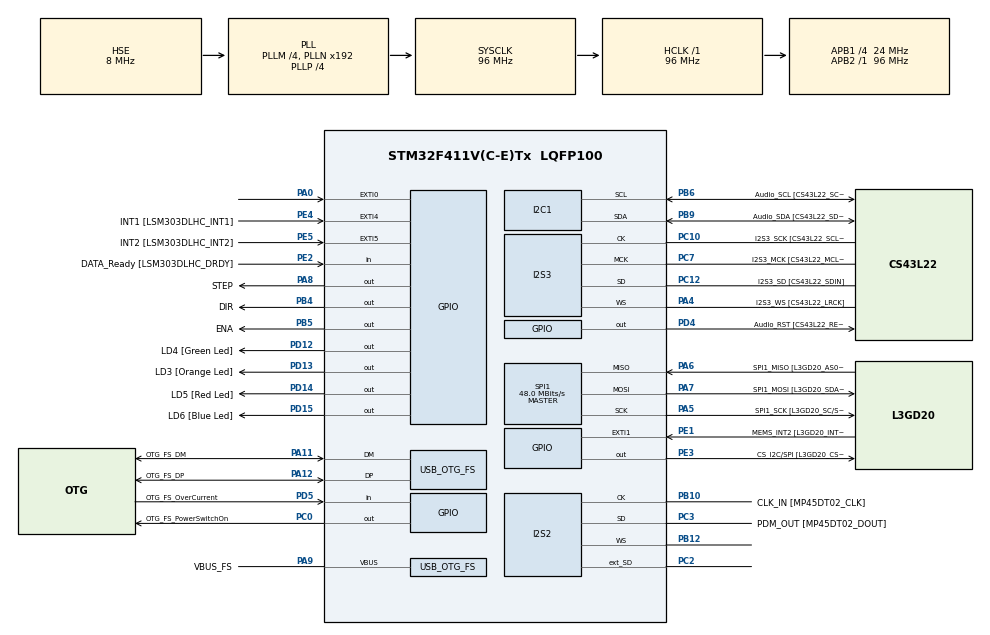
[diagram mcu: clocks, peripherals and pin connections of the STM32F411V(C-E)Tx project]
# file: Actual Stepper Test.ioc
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I2S2.AudioFreq=I2S_AUDIOFREQ_96K
I2S2.ErrorAudioFreq=0.15 %
I2S2.FullDuplexMode=I2S_FULLDUPLEXMODE_ENABLE
I2S2.Instance=SPI$Index
I2S2.RealAudioFreq=96.153 KHz
I2S2.VirtualMode=I2S_MODE_MASTER
I2S3.AudioFreq=I2S_AUDIOFREQ_96K
I2S3.ErrorAudioFreq=-6.99 %
I2S3.FullDuplexMode=I2S_FULLDUPLEXMODE_DISABLE
I2S3.Instance=SPI$Index
I2S3.RealAudioFreq=89.285 KHz
I2S3.VirtualMode=I2S_MODE_MASTER
Mcu.Family=STM32F4
Mcu.Name=STM32F411V(C-E)Tx
Mcu.Package=LQFP100
NVIC.OTG_FS_IRQn=true\:0\:0\:false\:false\:true\:true\:true\:true
NVIC.PriorityGroup=NVIC_PRIORITYGROUP_0
PA0-WKUP.GPIO_ModeDefaultEXTI=GPIO_MODE_EVT_RISING
PA0-WKUP.Signal=GPXTI0
PA10.GPIO_Label=OTG_FS_ID
PA10.Signal=USB_OTG_FS_ID
PA11.GPIO_Label=OTG_FS_DM
PA11.Mode=Host_Only
PA11.Signal=USB_OTG_FS_DM
PA12.GPIO_Label=OTG_FS_DP
PA12.Mode=Host_Only
PA12.Signal=USB_OTG_FS_DP
PA13.GPIO_Label=SWDIO
PA13.Mode=Serial_Wire
PA13.Signal=SYS_JTMS-SWDIO
PA14.GPIO_Label=SWCLK
PA14.Mode=Serial_Wire
PA14.Signal=SYS_JTCK-SWCLK
PA4.GPIO_Label=I2S3_WS [CS43L22_LRCK]
PA4.GPIO_Mode=GPIO_MODE_AF_PP
PA4.GPIO_PuPd=GPIO_NOPULL
PA4.GPIO_Speed=GPIO_SPEED_FREQ_LOW
PA4.Mode=Half_Duplex_Master
PA4.Signal=I2S3_WS
PA5.GPIO_Label=SPI1_SCK [L3GD20_SC/SPC]
PA5.Mode=Full_Duplex_Master
PA5.Signal=SPI1_SCK
PA6.GPIO_Label=SPI1_MISO [L3GD20_AS0/SDO]
PA6.Mode=Full_Duplex_Master
PA6.Signal=SPI1_MISO
PA7.GPIO_Label=SPI1_MOSI [L3GD20_SDA/SDI/SDO]
PA7.Mode=Full_Duplex_Master
PA7.Signal=SPI1_MOSI
PA8.GPIO_Label=STEP
PA8.GPIO_Speed=GPIO_SPEED_FREQ_HIGH
PA8.Signal=GPIO_Output
PA9.GPIO_Label=VBUS_FS
PA9.Mode=Activate_VBUS
PA9.Signal=USB_OTG_FS_VBUS
PB10.GPIO_Label=CLK_IN [MP45DT02_CLK]
PB10.Mode=Full_Duplex_Master
PB10.Signal=I2S2_CK
PB12.Mode=Full_Duplex_Master
PB12.Signal=I2S2_WS
PB3.GPIO_Label=SWO
PB3.Signal=SYS_JTDO-SWO
PB4.GPIO_Label=DIR
PB4.GPIO_Speed=GPIO_SPEED_FREQ_HIGH
PB4.Signal=GPIO_Output
PB5.GPIO_Label=ENA
PB5.GPIO_Speed=GPIO_SPEED_FREQ_HIGH
PB5.Signal=GPIO_Output
PB6.GPIO_Label=Audio_SCL [CS43L22_SCL]
PB6.GPIO_Mode=GPIO_MODE_AF_OD
PB6.GPIO_Pu=GPIO_PULLUP
PB6.GPIO_PuPd=GPIO_NOPULL
PB6.GPIO_Speed=GPIO_SPEED_FREQ_LOW
PB6.Mode=I2C
PB6.Signal=I2C1_SCL
PB9.GPIO_Label=Audio_SDA [CS43L22_SDA]
PB9.GPIO_Mode=GPIO_MODE_AF_OD
PB9.GPIO_Pu=GPIO_PULLUP
PB9.GPIO_PuPd=GPIO_NOPULL
PB9.GPIO_Speed=GPIO_SPEED_FREQ_LOW
PB9.Mode=I2C
PB9.Signal=I2C1_SDA
PC0.GPIO_Label=OTG_FS_PowerSwitchOn
PC0.PinState=GPIO_PIN_SET
PC0.Signal=GPIO_Output
PC10.GPIO_Label=I2S3_SCK [CS43L22_SCLK]
PC10.GPIO_Mode=GPIO_MODE_AF_PP
PC10.GPIO_PuPd=GPIO_NOPULL
PC10.GPIO_Speed=GPIO_SPEED_FREQ_LOW
PC10.Mode=Half_Duplex_Master
PC10.Signal=I2S3_CK
PC12.GPIO_Label=I2S3_SD [CS43L22_SDIN]
PC12.GPIO_Mode=GPIO_MODE_AF_PP
PC12.GPIO_PuPd=GPIO_NOPULL
PC12.GPIO_Speed=GPIO_SPEED_FREQ_LOW
PC12.Mode=Half_Duplex_Master
PC12.Signal=I2S3_SD
PC14-OSC32_IN.GPIO_Label=PC14-OSC32_IN
PC14-OSC32_IN.Mode=LSE-External-Oscillator
PC14-OSC32_IN.Signal=RCC_OSC32_IN
PC15-OSC32_OUT.GPIO_Label=PC15-OSC32_OUT
PC15-OSC32_OUT.Mode=LSE-External-Oscillator
PC15-OSC32_OUT.Signal=RCC_OSC32_OUT
PC2.Mode=Full_Duplex_Master
PC2.Signal=I2S2_ext_SD
PC3.GPIO_Label=PDM_OUT [MP45DT02_DOUT]
PC3.Mode=Full_Duplex_Master
PC3.Signal=I2S2_SD
PC7.GPIO_Label=I2S3_MCK [CS43L22_MCLK]
PC7.GPIO_Mode=GPIO_MODE_AF_PP
PC7.GPIO_PuPd=GPIO_NOPULL
PC7.GPIO_Speed=GPIO_SPEED_FREQ_LOW
PC7.Mode=Master_Clock_Activated
PC7.Signal=I2S3_MCK
PD12.GPIO_Label=LD4 [Green Led]
PD12.GPIO_PuPd=GPIO_NOPULL
PD12.GPIO_Speed=GPIO_SPEED_FREQ_LOW
PD12.Signal=GPIO_Output
PD13.GPIO_Label=LD3 [Orange Led]
PD13.GPIO_PuPd=GPIO_NOPULL
PD13.GPIO_Speed=GPIO_SPEED_FREQ_LOW
PD13.Signal=GPIO_Output
PD14.GPIO_Label=LD5 [Red Led]
PD14.GPIO_PuPd=GPIO_NOPULL
PD14.GPIO_Speed=GPIO_SPEED_FREQ_LOW
PD14.Signal=GPIO_Output
PD15.GPIO_Label=LD6 [Blue Led]
PD15.GPIO_PuPd=GPIO_NOPULL
PD15.GPIO_Speed=GPIO_SPEED_FREQ_LOW
PD15.Signal=GPIO_Output
PD4.GPIO_Label=Audio_RST [CS43L22_RESET]
PD4.Signal=GPIO_Output
PD5.GPIO_Label=OTG_FS_OverCurrent
PD5.Signal=GPIO_Input
PE1.GPIO_Label=MEMS_INT2 [L3GD20_INT2]
PE1.GPIO_ModeDefaultEXTI=GPIO_MODE_EVT_RISING
PE1.Signal=GPXTI1
PE2.GPIO_Label=DATA_Ready [LSM303DLHC_DRDY]
PE2.Signal=GPIO_Input
PE3.GPIO_Label=CS_I2C/SPI [L3GD20_CS_I2C/SPI]
PE3.Signal=GPIO_Output
PE4.GPIO_Label=INT1 [LSM303DLHC_INT1]
PE4.GPIO_ModeDefaultEXTI=GPIO_MODE_EVT_RISING
PE4.Signal=GPXTI4
PE5.GPIO_Label=INT2 [LSM303DLHC_INT2]
PE5.GPIO_ModeDefaultEXTI=GPIO_MODE_EVT_RISING
PE5.Signal=GPXTI5
PH0\ -\ OSC_IN.GPIO_Label=PH0-OSC_IN
PH0\ -\ OSC_IN.Mode=HSE-External-Clock-Source
PH0\ -\ OSC_IN.Signal=RCC_OSC_IN
PH1\ -\ OSC_OUT.GPIO_Label=PH1-OSC_OUT
PH1\ -\ OSC_OUT.Mode=HSE-External-Clock-Source
PH1\ -\ OSC_OUT.Signal=RCC_OSC_OUT
ProjectManager.HeapSize=0x200
ProjectManager.StackSize=0x400
ProjectManager.TargetToolchain=STM32CubeIDE
RCC.48MHZClocksFreq_Value=48000000
RCC.AHBFreq_Value=96000000
RCC.APB1CLKDivider=RCC_HCLK_DIV4
RCC.APB1Freq_Value=24000000
RCC.APB1TimFreq_Value=48000000
RCC.APB2Freq_Value=96000000
RCC.APB2TimFreq_Value=96000000
RCC.CortexFreq_Value=96000000
RCC.HCLKFreq_Value=96000000
RCC.HSE_VALUE=8000000
RCC.HSI_VALUE=16000000
RCC.PLLI2SM=5
RCC.PLLI2SN=200
RCC.PLLM=4
RCC.PLLP=RCC_PLLP_DIV4
RCC.PLLQ=8
RCC.SYSCLKFreq_VALUE=96000000
RCC.SYSCLKSource=RCC_SYSCLKSOURCE_PLLCLK
RCC.VCOOutputFreq_Value=384000000
SPI1.BaudRatePrescaler=SPI_BAUDRATEPRESCALER_2
SPI1.CalculateBaudRate=48.0 MBits/s
SPI1.Direction=SPI_DIRECTION_2LINES
SPI1.Mode=SPI_MODE_MASTER
SPI1.VirtualType=VM_MASTER
USB_HOST.BSP.number=1
USB_HOST.USBH_HandleTypeDef=hUsbHostFS
USB_HOST.VirtualModeFS=Cdc
USB_HOST0.BSP.STBoard=false
USB_HOST0.BSP.api=Unknown
USB_HOST0.BSP.instance=PC0
USB_HOST0.BSP.ip=GPIO
USB_HOST0.BSP.mode=Output
USB_HOST0.BSP.name=Drive_VBUS_FS
USB_HOST0.BSP.solution=PC0
USB_OTG_FS.VirtualMode=Host_Only
USB_OTG_FS.phy_itface=HCD_PHY_EMBEDDED
VP_USB_HOST_VS_USB_HOST_CDC_FS.Mode=CDC_FS
board=STM32F411E-DISCO

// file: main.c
/* USER CODE BEGIN Header */
/**
  ******************************************************************************
  * @file           : main.c
  * @brief          : Main program body
  ******************************************************************************
  * @attention
  *
  * Copyright (c) 2026 STMicroelectronics.
  * All rights reserved.
  *
  * This software is licensed under terms that can be found in the LICENSE file
  * in the root directory of this software component.
  * If no LICENSE file comes with this software, it is provided AS-IS.
  *
  ******************************************************************************
  */
/* USER CODE END Header */
#include "main.h"
#include "i2c.h"
#include "i2s.h"
#include "spi.h"
#include "usb_host.h"
#include "gpio.h"
#include "signal_sequence.h"

void SystemClock_Config(void);
void PeriphCommonClock_Config(void);
void MX_USB_HOST_Process(void);

/* USER CODE BEGIN 0 */
#define STEP_PORT GPIOA
#define STEP_PIN  GPIO_PIN_8

#define DIR_PORT  GPIOB
#define DIR_PIN   GPIO_PIN_4

#define ENA_PORT  GPIOB
#define ENA_PIN   GPIO_PIN_5

// NOTE: Some drivers treat ENA as active-low (enabled when LOW).
// We'll make it configurable:
#define ENA_ACTIVE_LOW  1   // set to 1 if your DM320T enables when ENA is LOW

static void delay_us(uint32_t us)
{
  // crude delay for bring-up testing; good enough to prove wiring
  uint32_t count = us * 8;
  while (count--) { __asm volatile ("nop"); }
}

static void driver_enable(uint8_t enable)
{
  GPIO_PinState level;

  if (ENA_ACTIVE_LOW)
    level = enable ? GPIO_PIN_RESET : GPIO_PIN_SET;
  else
    level = enable ? GPIO_PIN_SET : GPIO_PIN_RESET;

  HAL_GPIO_WritePin(ENA_PORT, ENA_PIN, level);
}

static void stepper_set_dir(uint8_t forward)
{
  HAL_GPIO_WritePin(DIR_PORT, DIR_PIN, forward ? GPIO_PIN_SET : GPIO_PIN_RESET);
}

static void stepper_pulse(uint32_t half_period_us)
{
  HAL_GPIO_WritePin(STEP_PORT, STEP_PIN, GPIO_PIN_SET);
  delay_us(half_period_us);
  HAL_GPIO_WritePin(STEP_PORT, STEP_PIN, GPIO_PIN_RESET);
  delay_us(half_period_us);
}

static void stepper_run_steps(uint32_t steps, uint32_t half_period_us)
{
  for (uint32_t i = 0; i < steps; i++)
  {
    stepper_pulse(half_period_us);
  }
}
/* USER CODE END 0 */

int main(void)
{

  /* MCU Configuration--------------------------------------------------------*/

  /* Reset of all peripherals, Initializes the Flash interface and the Systick. */
  HAL_Init();

  /* Configure the system clock */
  SystemClock_Config();

  /* Configure the peripherals common clocks */
  PeriphCommonClock_Config();

 SignalSequence_InitTimer();
Run_Signal_Sequence();

  /* Initialize all configured peripherals */
  MX_GPIO_Init();
  MX_I2C1_Init();
  MX_I2S2_Init();
  MX_I2S3_Init();
  MX_SPI1_Init();
  MX_USB_HOST_Init();
  /* USER CODE BEGIN 2 */
  driver_enable(0);
  HAL_Delay(200);
  driver_enable(1);
  HAL_Delay(200);
  /* USER CODE END 2 */

  /* Infinite loop */
  /* USER CODE BEGIN WHILE */
  while (1)
  {
    // Enable driver
    driver_enable(1);
    HAL_Delay(200);

    // Forward slow
    stepper_set_dir(1);
    stepper_run_steps(1000, 800);
    HAL_Delay(500);

    // Forward faster
    stepper_run_steps(1000, 600);
    HAL_Delay(500);

    // Reverse slow
    stepper_set_dir(0);
    stepper_run_steps(1000, 800);
    HAL_Delay(500);

    // Disable driver briefly (you may hear motor “relax”)
    driver_enable(0);
    HAL_Delay(1500);
  }
  {
    /* USER CODE END WHILE */
    MX_USB_HOST_Process();

  }
}

void SystemClock_Config(void)
{
  RCC_OscInitTypeDef RCC_OscInitStruct = {0};
  RCC_ClkInitTypeDef RCC_ClkInitStruct = {0};

  /** Configure the main internal regulator output voltage
  */
  __HAL_RCC_PWR_CLK_ENABLE();
  __HAL_PWR_VOLTAGESCALING_CONFIG(PWR_REGULATOR_VOLTAGE_SCALE1);

  /** Initializes the RCC Oscillators according to the specified parameters
  * in the RCC_OscInitTypeDef structure.
  */
  RCC_OscInitStruct.OscillatorType = RCC_OSCILLATORTYPE_HSE;
  RCC_OscInitStruct.HSEState = RCC_HSE_BYPASS;
  RCC_OscInitStruct.PLL.PLLState = RCC_PLL_ON;
  RCC_OscInitStruct.PLL.PLLSource = RCC_PLLSOURCE_HSE;
  RCC_OscInitStruct.PLL.PLLM = 4;
  RCC_OscInitStruct.PLL.PLLN = 192;
  RCC_OscInitStruct.PLL.PLLP = RCC_PLLP_DIV4;
  RCC_OscInitStruct.PLL.PLLQ = 8;
  if (HAL_RCC_OscConfig(&RCC_OscInitStruct) != HAL_OK)
  {
    Error_Handler();
  }

  /** Initializes the CPU, AHB and APB buses clocks
  */
  RCC_ClkInitStruct.ClockType = RCC_CLOCKTYPE_HCLK|RCC_CLOCKTYPE_SYSCLK
                              |RCC_CLOCKTYPE_PCLK1|RCC_CLOCKTYPE_PCLK2;
  RCC_ClkInitStruct.SYSCLKSource = RCC_SYSCLKSOURCE_PLLCLK;
  RCC_ClkInitStruct.AHBCLKDivider = RCC_SYSCLK_DIV1;
  RCC_ClkInitStruct.APB1CLKDivider = RCC_HCLK_DIV4;
  RCC_ClkInitStruct.APB2CLKDivider = RCC_HCLK_DIV1;

  if (HAL_RCC_ClockConfig(&RCC_ClkInitStruct, FLASH_LATENCY_3) != HAL_OK)
  {
    Error_Handler();
  }
}

void PeriphCommonClock_Config(void)
{
  RCC_PeriphCLKInitTypeDef PeriphClkInitStruct = {0};

  /** Initializes the peripherals clock
  */
  PeriphClkInitStruct.PeriphClockSelection = RCC_PERIPHCLK_I2S;
  PeriphClkInitStruct.PLLI2S.PLLI2SN = 200;
  PeriphClkInitStruct.PLLI2S.PLLI2SM = 5;
  PeriphClkInitStruct.PLLI2S.PLLI2SR = 2;
  if (HAL_RCCEx_PeriphCLKConfig(&PeriphClkInitStruct) != HAL_OK)
  {
    Error_Handler();
  }
}

void Error_Handler(void)
{
  __disable_irq();
  while (1)
  {
  }
}
